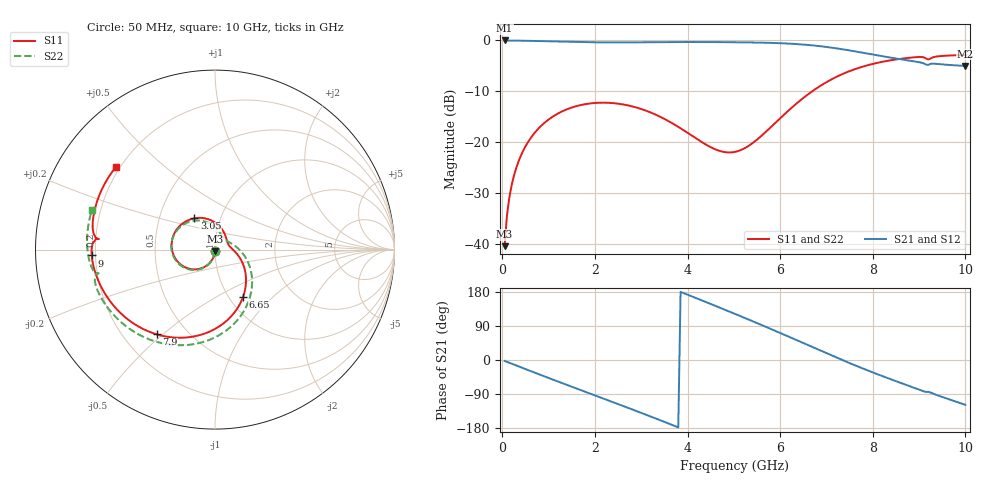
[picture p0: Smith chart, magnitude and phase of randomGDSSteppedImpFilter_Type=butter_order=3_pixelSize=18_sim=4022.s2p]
! freq	dB(S11)	phase(S11)	dB(S12)	phase(S12)
!  dB(S21)	phase(S21)	dB(S22)	phase(S22)
!S-par simulation data
#  GHz  S  DB  R 50
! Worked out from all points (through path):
!   200 points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, 50 MHz to 10 GHz, reference 50 ohm
!   highest |S21| = 0.00 dB at 50 MHz (marker M1); lowest = -5.0 dB at 10 GHz (marker M2)
!   group delay of S21, straight-line fit = 136 ps
!   lowest |S11| = -40.4 dB at 50 MHz (marker M3), VSWR 1.02, Z = 50 - j0.955 ohm
!   |S11| at or under -10 dB: start of sweep to 6.69 GHz
!   |S22| runs from -40.4 to -2.8 dB; largest |S21 - S12| = 0
!   S11 on the Smith chart (normalised r, x): 50 MHz: 1.00, -0.02; 3.05 GHz: 0.75, +0.27; 6.65 GHz: 1.16, -0.68; 7.9 GHz: 0.34, -0.48; 9 GHz: 0.18, -0.02; 10 GHz: 0.18, +0.35
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0.05  -40.39 -92.0  -0.00 -2.4  -0.00 -2.4  -40.38 -91.9
0.1  -34.43 -94.7  -0.01 -4.8  -0.01 -4.8  -34.43 -94.6
0.2  -28.50 -100.0  -0.02 -9.6  -0.02 -9.6  -28.50 -99.7
0.5  -20.81 -115.0  -0.07 -23.9  -0.07 -23.9  -20.81 -114.1
1.15  -14.61 -146.2  -0.22 -54.4  -0.22 -54.4  -14.61 -144.2
1.75  -12.58 -174.5  -0.34 -82.0  -0.34 -82.0  -12.58 -171.1
2.4  -12.31 154.8  -0.39 -111.7  -0.39 -111.7  -12.32 160.1
3.05  -13.61 123.3  -0.36 -141.9  -0.36 -141.9  -13.62 131.3
3.4  -14.94 105.7  -0.34 -158.5  -0.34 -158.5  -14.96 115.7
3.8  -16.96 84.7  -0.32 -177.7  -0.32 -177.7  -16.99 98.0
4.2  -19.33 62.8  -0.31 162.7  -0.31 162.7  -19.38 80.5
5.05  -21.82 17.1  -0.36 120.4  -0.36 120.4  -21.92 40.3
5.45  -19.84 -1.1  -0.41 100.1  -0.41 100.1  -19.90 17.9
5.85  -16.57 -19.2  -0.49 79.3  -0.49 79.3  -16.59 -4.9
6.25  -13.19 -38.7  -0.65 58.0  -0.65 58.0  -13.18 -27.2
6.65  -10.26 -59.4  -0.93 36.5  -0.93 36.5  -10.23 -49.0
6.7  -9.94 -62.1  -0.97 33.9  -0.97 33.9  -9.90 -51.7
7.25  -7.00 -91.1  -1.60 4.6  -1.60 4.6  -6.95 -80.7
7.9  -4.84 -124.5  -2.60 -28.0  -2.60 -28.0  -4.79 -112.6
8.35  -3.95 -146.3  -3.32 -49.1  -3.32 -49.1  -3.90 -133.0
9  -3.25 -177.3  -4.27 -78.0  -4.27 -78.0  -3.19 -160.9
10  -2.87 140.3  -5.00 -118.4  -5.00 -118.4  -2.85 162.0
